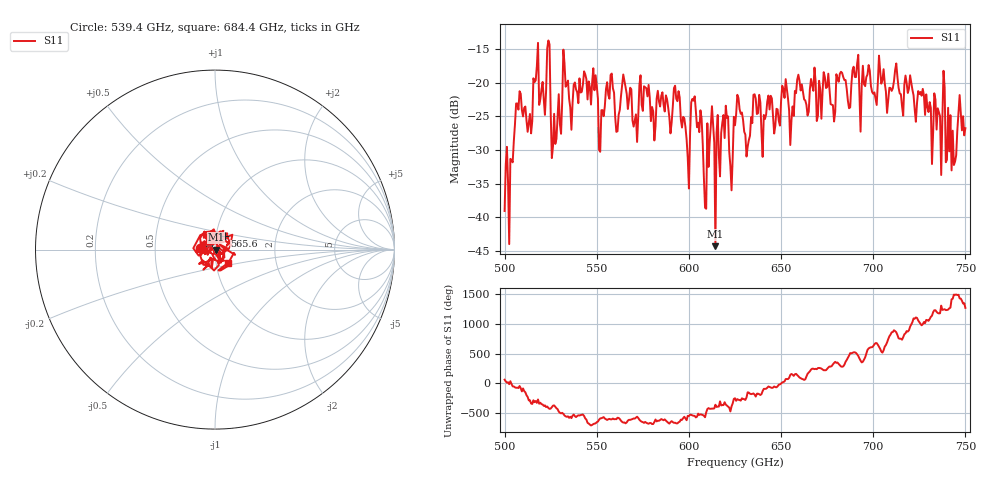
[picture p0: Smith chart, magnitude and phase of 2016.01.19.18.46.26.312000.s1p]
!Created with skrf (http://scikit-rf.org).
# GHz S RI R 50.0
!freq ReS11 ImS11
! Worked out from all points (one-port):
!   401 points, 500 GHz to 750 GHz, reference 50 ohm
!   lowest |S11| = -44.3 dB at 614.4 GHz (marker M1), VSWR 1.01, Z = 50.6 + j0.0473 ohm
!   |S11| at or under -10 dB: start of sweep to end of sweep
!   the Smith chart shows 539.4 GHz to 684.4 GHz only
!   S11 on the Smith chart (normalised r, x): 539.4 GHz: 0.84, +0.01; 565.6 GHz: 1.10, +0.17; 684.4 GHz: 1.15, -0.17
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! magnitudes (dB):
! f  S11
! 500 GHz  -39.0
! 503.1 GHz  -31.3
! 507.5 GHz  -24.0
! 513.8 GHz  -24.7
! 516.9 GHz  -19.7
! 523.8 GHz  -13.8
! 526.9 GHz  -24.6
! 531.2 GHz  -22.8
! 539.4 GHz  -21.4
! 562.5 GHz  -24.0
! 565.6 GHz  -20.7
! 570.6 GHz  -25.7
! 593.8 GHz  -22.8
! 599.4 GHz  -31.2
! 602.5 GHz  -22.7
! 609.4 GHz  -38.7
! 611.2 GHz  -28.9
! 614.4 GHz  -44.3
! 620 GHz  -23.4
! 623.1 GHz  -36.0
! 625 GHz  -26.3
! 656.2 GHz  -23.5
! 660 GHz  -19.7
! 684.4 GHz  -19.6
! 687.5 GHz  -23.7
! 718.8 GHz  -21.5
! 743.8 GHz  -32.2
! 750 GHz  -26.8
